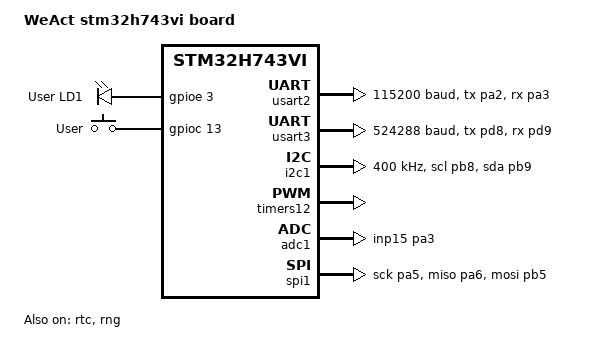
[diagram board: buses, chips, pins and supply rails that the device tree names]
/*
 * Copyright (c) 2020 Teslabs Engineering S.L.
 *
 * SPDX-License-Identifier: Apache-2.0
 */

/dts-v1/;
#include <st/h7/stm32h743Xi.dtsi>
#include <st/h7/stm32h743vitx-pinctrl.dtsi>

/ {
	model = "WeAct stm32h743vi board";
	compatible = "st,weact_stm32h743vi";

	chosen {
		zephyr,console = &usart3;
		zephyr,shell-uart = &usart3;
		zephyr,sram = &sram0;
		zephyr,flash = &flash0;
		zephyr,dtcm = &dtcm;
	};

	leds {
		compatible = "gpio-leds";
		blue_led: led_0 {
			gpios = <&gpioe 3 GPIO_ACTIVE_HIGH>;
			label = "User LD1";
		};
	};

	gpio_keys {
		compatible = "gpio-keys";
		user_button: button_0 {
			label = "User";
			gpios = <&gpioc 13 GPIO_ACTIVE_HIGH>;
		};
	};

	aliases {
		led0 = &blue_led;
		sw0 = &user_button;
	};
};

&usart2 {
	pinctrl-0 = <&usart2_tx_pa2 &usart2_rx_pa3>;
	current-speed = <115200>;
	status = "okay";
};


&usart3 {
	pinctrl-0 = <&usart3_tx_pd8 &usart3_rx_pd9>;
	current-speed = <524288>;
	status = "okay";
};

&rtc {
	status = "okay";
};

&i2c1 {
	pinctrl-0 = <&i2c1_scl_pb8 &i2c1_sda_pb9>;
	status = "okay";
	clock-frequency = <I2C_BITRATE_FAST>;
};

&timers12 {
	status = "okay";

	pwm12: pwm {
		status = "okay";
		pinctrl-0 = <&tim12_ch1_pb14>;
	};
};

&adc1 {
	pinctrl-0 = <&adc1_inp15_pa3>;
	status = "okay";
};

&rng {
	status = "okay";
};

&spi1 {
	status = "okay";
	pinctrl-0 = <&spi1_sck_pa5 &spi1_miso_pa6 &spi1_mosi_pb5>;
};

// &dma1 {
// 	status = "okay";
// };

// &dma2 {
// 	status = "okay";
// };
